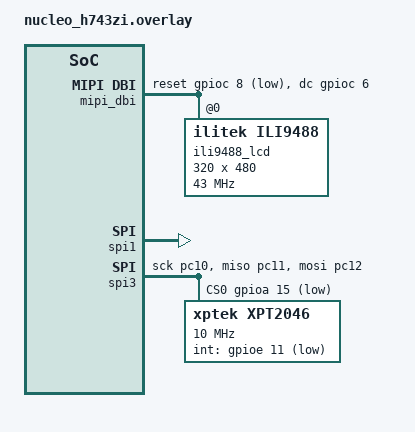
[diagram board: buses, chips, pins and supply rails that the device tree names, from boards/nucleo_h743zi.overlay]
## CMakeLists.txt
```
cmake_minimum_required(VERSION 3.20.0)

# Point the build at the HMI module (this sample lives inside it).
set(ZEPHYR_EXTRA_MODULES ${CMAKE_CURRENT_SOURCE_DIR}/../..)

find_package(Zephyr REQUIRED HINTS $ENV{ZEPHYR_BASE})
project(motor_hmi LANGUAGES C)

target_sources(app PRIVATE src/main.c)
```

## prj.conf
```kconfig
# App-side settings the HMI library needs
CONFIG_MAIN_STACK_SIZE=8192

CONFIG_GPIO=y
CONFIG_SPI=y

# SPI1 LCD bus moves ~14 KB per flush; DMA frees the flush thread from
# byte-pumping so main can render while the transfer runs. DMA_STM32_V2
# and DMAMUX_STM32 enable themselves from the DT nodes in the overlay.
CONFIG_DMA=y
CONFIG_SPI_STM32_DMA=y

CONFIG_LOG=y

# Resistive touch (XPT2046 on SPI3, 'zephyr,touch' chosen) -> LVGL pointer
# Upstream xptek,xpt2046 driver (CONFIG_INPUT_XPT2046).
CONFIG_INPUT=y
CONFIG_INPUT_XPT2046=y
# The input module logs a "Timeout discarded" DBG line on EVERY syswq report,
# and with CONFIG_INPUT_LOG_LEVEL_DBG the resulting flood overflows the
# deferred log queue at 115200 baud (seen as "--- N messages dropped ---").
# Keep WRN so the "Event dropped, queue full" canary stays visible.
CONFIG_INPUT_LOG_LEVEL_WRN=y
# Input pipeline must never be starved, or the 16-slot event msgq fills and
# every touch is dropped before reaching LVGL ("Event dropped, queue full,
# not blocking in syswq"). Run the input thread at cooperative top priority
# (preempts the flush thread) and give it headroom for bursts/drags.
CONFIG_INPUT_THREAD_PRIORITY_OVERRIDE=y
CONFIG_INPUT_THREAD_PRIORITY=-1
CONFIG_INPUT_THREAD_STACK_SIZE=2048
CONFIG_INPUT_QUEUE_MAX_MSGS=64
CONFIG_LV_Z_POINTER_INPUT=y
CONFIG_LV_Z_POINTER_FROM_CHOSEN_TOUCH=y

# Display driver stack (ILI9488 over 4-wire MIPI DBI/SPI)
CONFIG_DISPLAY=y
CONFIG_DISPLAY_LOG_LEVEL_ERR=y

# LVGL, rendering natively in the panel's 18-bit RGB666 mode.
# The HMI module (CONFIG_HMI) selects the widgets and fonts it needs;
# the display-specific settings stay here.
CONFIG_LVGL=y
CONFIG_LV_COLOR_DEPTH_24=y
# VDB size in % of the framebuffer. Landscape and portrait are the same
# 153600 px, so 3% = 4608 px = 13824 bytes @ RGB888 -- identical to the
# portrait display_demo and known to fit next to the widget set in the
# LVGL memory pool.
CONFIG_LV_Z_VDB_SIZE=3
# Double the draw buffer and flush in a dedicated thread so the next strip
# can be rendered while the previous one is still being pushed over SPI.
# Flush thread priority MUST stay below the input/sysworkq threads (-1), or
# a long synchronous flush starves XPT2046 sampling (the old touch freeze).
CONFIG_LV_Z_DOUBLE_VDB=y
CONFIG_LV_Z_FLUSH_THREAD=y
CONFIG_LV_Z_FLUSH_THREAD_PRIORITY=4
CONFIG_LV_Z_FLUSH_THREAD_STACK_SIZE=1024
# LVGL pool holds the object set + the rendering buffer for the app's
# lifetime (lv_malloc in lvgl.c).
CONFIG_LV_Z_MEM_POOL_SIZE=80000
CONFIG_LV_USE_LOG=y
CONFIG_LV_LOG_LEVEL_ERROR=y

# HMI library
CONFIG_HMI=y

# Flash is at 100%: trim LVGL down to just the widgets the HMI demo uses
# (ARC/ARCLABEL/BAR/BUTTON/BUTTONMATRIX/CHART/IMAGE/LABEL/LINE/SLIDER/
# TABVIEW + FLEX layout). LTO is unavailable here: GEN_ISR_TABLES forces
# CONFIG_LTO back to n on this board.
CONFIG_LV_USE_TABLE=n
CONFIG_LV_USE_TEXTAREA=n
CONFIG_LV_USE_ROLLER=n
CONFIG_LV_USE_SPINBOX=n
CONFIG_LV_USE_SPINNER=n
CONFIG_LV_USE_SWITCH=n
CONFIG_LV_USE_CHECKBOX=n
CONFIG_LV_USE_DROPDOWN=n
CONFIG_LV_USE_CALENDAR=n
CONFIG_LV_USE_KEYBOARD=n
CONFIG_LV_USE_MSGBOX=n
CONFIG_LV_USE_MENU=n
CONFIG_LV_USE_TILEVIEW=n
CONFIG_LV_USE_WIN=n
CONFIG_LV_USE_LIST=n
CONFIG_LV_USE_ANIMIMG=n
CONFIG_LV_USE_CANVAS=n
CONFIG_LV_USE_IMAGEBUTTON=n
CONFIG_LV_USE_SPAN=n
CONFIG_LV_USE_SCALE=n
CONFIG_LV_USE_LED=n
CONFIG_LV_USE_GIF=n

# add picolib float support
CONFIG_PICOLIBC_IO_FLOAT=y
```

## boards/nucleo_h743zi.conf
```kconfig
# The nucleo_h743zi's default zephyr,code-partition (MCUboot slot0) is only
# 256 KB. This app (~500 KB) links against the full 2 MB flash instead.
CONFIG_USE_DT_CODE_PARTITION=n
```

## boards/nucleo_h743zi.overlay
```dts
/*
 * Motor Control HMI for ST NUCLEO-H743ZI -- LANDSCAPE 480x320.
 *
 * Same wiring as samples/display_demo (see that file for the pin rationale):
 *  - Display SPI1: SCK=PA5(D13) MISO=PA6(D12) MOSI=PB5(D11) CS=PD14(D10)
 *    DC=PC6, RESET=PC8
 *  - Touch SPI3: SCK=PC10 MISO=PC11 MOSI=PC12, CS=PA15, IRQ=PE11(D5)
 *
 * The only delta from display_demo is `rotation = <180>` -> `<270>`:
 *
 *  1. The panel is native 320x480; 90/270 make ili9xxx_get_capabilities()
 *     report 480x320, which is what LVGL and the 4-tab layout size against
 *     (lvgl.c:389 creates the lv_display from cap.x/y_resolution).
 *     Measured on hardware: <90> put the corner labels in the wrong places
 *     and mirrored BOTH touch axes (x ran right-to-left, y bottom-to-top),
 *     which is precisely a 180 deg error -- so <270> is the correct one.
 *     `h-mirror` / `v-mirror` (ilitek,ili9xxx-common.yaml) remain the
 *     fallback if a single axis is still flipped.
 *
 *  2. The touch node is deliberately left IDENTICAL to display_demo's.
 *     lvgl_pointer_process_event() (zephyr/modules/lvgl/input/
 *     lvgl_pointer_input.c:88-110) already rotates the incoming point into
 *     the rotated frame using cap.current_orientation, e.g. for ROTATED_90:
 *
 *         point->x = tmp.y;  point->y = cap.y_resolution - tmp.x;
 *
 *     which only holds when tmp is in the panel's NATIVE 320x480 frame.
 *     Swapping axes or scaling to 480x320 here would rotate twice and
 *     leave the cursor diagonal/mirrored. There is no lvgl,pointer-input
 *     node in this DT, so cfg->swap_xy / invert_x / invert_y are all false
 *     and orientation rotation is LVGL's only transform -- which also means
 *     touch follows whatever rotation the display reports, automatically.
 *
 *     inverted-x / inverted-y (native frame, raw digitizer axes) stay as
 *     display_demo has them; the crosshair test in src/main.c decides
 *     whether either needs flipping. min-x/max-x/min-y/max-y calibrate the
 *     panel in its own physical frame and do not depend on rotation.
 */

#include <zephyr/dt-bindings/display/panel.h>
#include <freq.h>

/ {
    chosen {
        zephyr,display = &ili9488_lcd;
        zephyr,touch = &xpt2046;
    };

    mipi_dbi: mipi_dbi {
        compatible = "zephyr,mipi-dbi-spi";
        spi-dev = <&spi1>;
        dc-gpios = <&gpioc 6 GPIO_ACTIVE_HIGH>;
        reset-gpios = <&gpioc 8 GPIO_ACTIVE_LOW>;
        #address-cells = <1>;
        #size-cells = <0>;
        status = "okay";

        ili9488_lcd: ili9488@0 {
            compatible = "ilitek,ili9488";
            reg = <0>;
            mipi-mode = "MIPI_DBI_MODE_SPI_4WIRE";
            /* Panel register table matches the G4 build (same LCD module).
             * H7 SPI1 kernel clock is PLL1_Q = 480 MHz; the reached wire
             * rate may differ from the G4's ~43 MHz -> retune if needed. */
            mipi-max-frequency = <DT_FREQ_M(43)>;
            width = <320>;
            height = <480>;
            pixel-format = <PANEL_PIXEL_FORMAT_RGB_888>;
            /* Landscape, verified: <90> renders 180 deg off on this panel
             * and mirrors both touch axes; <270> is the correct sense. */
            rotation = <270>;
            frmctr1 = [b0 11];
            /* 0x22 sets the SS bit. ilitek,ili9488.yaml warns a non-default
             * SS value may interfere with rotation -- if the landscape
             * image comes out mirrored or shifted, revert this to the
             * binding default [02 02 3b] first. */
            disctrl = [02 22 3b];
            pwctrl1 = [11 09];
            pwctrl2 = [41];
            vmctrl = [00 0a 80 40];
            pgamctrl = [00 07 10 09 17 0b 41 89 4b 0a 0c 0e 18 1b 0f];
            ngamctrl = [00 17 1a 04 0e 06 2f 45 43 02 0a 09 32 36 0f];
            status = "okay";
        };
    };
};

&spi1 {
    /* pinctrl + cs-gpios are the board defaults (PA5/PA6/PB5, PD14). */
    status = "okay";
};

&spi3 {
    pinctrl-0 = <&spi3_sck_pc10 &spi3_miso_pc11 &spi3_mosi_pc12>;
    pinctrl-names = "default";
    cs-gpios = <&gpioa 15 GPIO_ACTIVE_LOW>;
    status = "okay";

    xpt2046: xpt2046@0 {
        compatible = "xptek,xpt2046";
        reg = <0>;
        spi-max-frequency = <DT_FREQ_M(10)>;
        /* PE11 = Arduino D5; PB7 (G4 wiring) stays lpuart1 RX here. */
        int-gpios = <&gpioe 11 GPIO_ACTIVE_LOW>;

        /* Raw XPT2046 cal is panel- and driver-raw, independent of the
         * host MCU, so the values from the G4 stays valid on this panel. */
        min-x = <1300>;
        max-x = <4095>;
        min-y = <683>;
        max-y = <3800>;
        touchscreen-size-x = <4096>;
        touchscreen-size-y = <4096>;
        z-threshold = <100>;
        reads = <10>;

        inverted-y;

        /* NOTE: the `display` phandle must stay. INPUT_TOUCH_OUTPUT_DIM
         * then picks up the panel's native 320x480, which is the frame
         * lvgl_pointer_process_event() expects to receive before it
         * applies the display orientation. Do not add swapped-x-y or
         * override output-width/output-height here -- see the header. */
        screen-width = <4096>;
        screen-height = <4096>;
        display = <&ili9488_lcd>;
    };
};
```

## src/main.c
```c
/*
 * SPDX-License-Identifier: Apache-2.0
 *
 * Motor Control HMI -- the professor's four screens, composed from the
 * HMI widget set on the 480x320 landscape panel (rotation 270, Phase B).
 *
 *   MAIN      read  Speed / Torque / Id / Iq / Vdc / status
 *             edit  RUN-STOP, speed command
 *   CONTROL   read  speed, Id, Iq setpoints + mode
 *             edit  speed ref, torque ref, Id ref, mode
 *   TUNING    read  current Kp/Ki per loop
 *             edit  the six gains
 *   MONITOR   read  Vdc / Ia / Ib / Ic / Id / Iq / speed / fault
 *             edit  fault reset
 *
 * The tab bar is 40 px, so every page is a fixed 480 x 280 canvas. Each
 * page is a plain absolute layout: widgets are placed by top-left corner,
 * and the widths were chosen so hmi_readout/hmi_slider derive the same
 * font (and therefore the same height) for every cell in a row. The
 * numbers below are the contract -- moving one means re-deriving the rest:
 *
 *   readout height  = 23 + value line height
 *                     (w>=200 -> 32/35 -> 58, >=150 -> 28/30 -> 53,
 *                      >=110 -> 22/24 -> 47, >=80 -> 18/21 -> 44,
 *                      else   16/18 -> 41)
 *   slider height   = value line height + 16 + 24
 *                     (w>=240 -> 70, >=180 -> 64, >=120 -> 61, else 58)
 *
 * There is no comm link on this pass (Phase 4): a 100 ms timer stands in
 * for the drive, so the readouts move, the gains visibly change the
 * response, and pushing the load into the overcurrent region trips and
 * latches protection exactly as the real firmware would.
 */

#include <math.h>
#include <stdbool.h>
#include <stdint.h>

#include <lvgl.h>
#include <zephyr/logging/log.h>
#include <zephyr/sys/util.h>
#include <zephyr/sys/printk.h>
#include <hmi/hmi.h>

LOG_MODULE_REGISTER(motor_hmi, LOG_LEVEL_INF);

#define SCR_W 480
#define SCR_H 320
#define TABS_H 40
#define PAGE_H (SCR_H - TABS_H)

#define TWO_PI_F 6.2831853f
#define DQ_2PI_3 2.0943951f

/* Torque constant of the simulated machine, Nm per ampere of Iq. */
#define KT 1.5f

/* Mean |phase current| above which protection trips. With Id <= 5 A and
 * Torque Ref <= 25 Nm (Iq <= 16.7 A) the balanced-set mean reaches about
 * 11 A, so this sits high enough to need a deliberate over-range command
 * and still trips before the slider hits its end.
 */
#define LOAD_TRIP_A 9.0f

enum {
    MODE_SPEED = 0,
    MODE_TORQUE,
    MODE_ID,
};

enum {
    RUN_IDX_RUN = 0,
    RUN_IDX_STOP,
};

static const char *const g_tab_name[] = { "MAIN", "CONTROL", "TUNING",
                      "MONITOR" };
static const char *const g_mode_name[] = { "Speed", "Torque", "Id" };

/* ---- setpoints (driven by the UI) ---------------------------------- */
static float ref_speed = 1200.0f;   /* rpm */
static float ref_torque = 5.0f;     /* Nm  */
static float ref_id = 0.0f;         /* A   */
static float ref_iq = 0.0f;         /* A, derived from ref_torque */

/* ---- machine state (driven by the simulator) ----------------------- */
static float m_speed;               /* rpm */
static float m_torque;              /* Nm  */
static float m_id;                  /* A   */
static float m_iq;                  /* A   */
static float m_vdc = 48.0f;         /* V   */
static float m_ia;
static float m_ib;
static float m_ic;
static float m_phase;               /* rad */

/* ---- gains (driven by the TUNING screen) --------------------------- */
static float kp_speed = 120.0f;
static float ki_speed = 40.0f;
static float kp_id = 4.0f;
static float ki_id = 80.0f;
static float kp_iq = 4.0f;
static float ki_iq = 80.0f;

/* ---- run state ----------------------------------------------------- */
static bool running;
static bool fault_latched;
static const char *fault_str = "None";
static int mode = MODE_SPEED;
static int last_announced = -1;     /* -1 unknown, 0 stop, 1 run, 2 trip */

/* ---- widget handles shared between screens and callbacks ------------ */
static lv_obj_t *ch_run;
static lv_obj_t *ch_mode;
static lv_obj_t *sl_speed_main;
static lv_obj_t *sl_speed_ctrl;
static lv_obj_t *ro_status;
static lv_obj_t *ro_mode;
static lv_obj_t *ro_fault;
static lv_obj_t *ro_trip;

/* ==================================================================== */
/* Layout helpers                                                        */
/* ==================================================================== */

static lv_obj_t *caption(lv_obj_t *parent, int x, int y, const char *text)
{
    lv_obj_t *l = lv_label_create(parent);

    lv_obj_set_pos(l, x, y);
    lv_label_set_text(l, text);
    lv_obj_set_style_text_font(l, &lv_font_montserrat_12, 0);
    lv_obj_set_style_text_color(l, lv_color_hex(colorscheme[23]), 0);
    return l;
}

static lv_obj_t *readout(lv_obj_t *parent, int x, int y, int width,
             const char *title, const char *unit, float *bind,
             int precision)
{
    lv_obj_t *ro = hmi_readout_create(parent, x, y, width, title, unit);

    if (ro != NULL && bind != NULL) {
        hmi_readout_bind_value(ro, bind);
        hmi_readout_set_precision(ro, precision);
    }
    return ro;
}

static lv_obj_t *slider(lv_obj_t *parent, int x, int y, int width, double lo,
            double hi, double step, const char *unit, int precision,
            double initial)
{
    lv_obj_t *s = hmi_slider_create(parent, x, y, width);

    if (s == NULL) {
        return NULL;
    }
    /* set_range first: it recomputes the step and re-clamps the LVGL
     * position, which would otherwise discard a value set before it.
     */
    hmi_slider_set_range(s, lo, hi, step);
    hmi_slider_set_unit(s, unit);
    hmi_slider_set_precision(s, precision);
    hmi_slider_set_value(s, initial);
    return s;
}

/* A tabview page wants a fixed canvas: a stray drag must not pan the
 * layout away from where it was laid out.
 */
static lv_obj_t *tab_page(lv_obj_t *tv, const char *name)
{
    lv_obj_t *page = hmi_tabs_add_tab(tv, name);

    if (page != NULL) {
        lv_obj_remove_flag(page, LV_OBJ_FLAG_SCROLLABLE);
    }
    return page;
}

/* ==================================================================== */
/* Callbacks                                                             */
/* ==================================================================== */

/* The speed command on MAIN and the speed ref on CONTROL are the same
 * setpoint shown on two screens, so moving either moves the other.
 * hmi_slider_set_value() goes through lv_bar_set_value(), which does not
 * emit VALUE_CHANGED, so this cannot recurse -- the flag is belt and
 * braces in case that ever changes.
 */
static bool g_syncing;

static void speed_ref_cb(lv_obj_t *sl, double value, void *user_data)
{
    LV_UNUSED(user_data);

    if (g_syncing) {
        return;
    }
    g_syncing = true;
    ref_speed = (float)value;

    lv_obj_t *peer = (sl == sl_speed_main) ? sl_speed_ctrl : sl_speed_main;
    if (peer != NULL) {
        hmi_slider_set_value(peer, value);
    }
    g_syncing = false;
}

static void scalar_ref_cb(lv_obj_t *sl, double value, void *user_data)
{
    LV_UNUSED(sl);
    *(float *)user_data = (float)value;
}

static void run_cb(lv_obj_t *ch, uint32_t active, void *user_data)
{
    LV_UNUSED(user_data);

    if (fault_latched) {
        /* Protection owns the drive until it is reset. */
        hmi_choice_set_active(ch, RUN_IDX_STOP, false);
        return;
    }
    running = (active == RUN_IDX_RUN);
    LOG_INF("run state -> %s", running ? "RUN" : "STOP");
}

static void mode_cb(lv_obj_t *ch, uint32_t active, void *user_data)
{
    LV_UNUSED(ch);
    LV_UNUSED(user_data);

    if (active > MODE_ID) {
        return;
    }
    mode = (int)active;
    if (ro_mode != NULL) {
        hmi_readout_set_text(ro_mode, g_mode_name[active]);
    }
    LOG_INF("control mode -> %s", g_mode_name[active]);
}

static void fault_reset_cb(lv_obj_t *btn, bool checked, void *user_data)
{
    LV_UNUSED(btn);
    LV_UNUSED(checked);
    LV_UNUSED(user_data);

    if (!fault_latched) {
        LOG_INF("fault reset with no active trip");
        return;
    }
    fault_latched = false;
    fault_str = "None";
    last_announced = -1;   /* force the status row to repaint */
    LOG_INF("trip cleared");
}

static void tab_cb(lv_obj_t *tv, uint32_t active, void *user_data)
{
    LV_UNUSED(tv);
    LV_UNUSED(user_data);

    if (active < ARRAY_SIZE(g_tab_name)) {
        LOG_INF("tab %s", g_tab_name[active]);
    }
}

/* ==================================================================== */
/* Status row                                                            */
/* ==================================================================== */

static void update_status(void)
{
    int now = fault_latched ? 2 : (running ? 1 : 0);

    if (now == last_announced) {
        return;
    }
    last_announced = now;

    if (ro_status != NULL) {
        hmi_readout_set_text(ro_status,
                     now == 2 ? "FAULT" :
                     now == 1 ? "RUNNING" : "STOPPED");
        hmi_readout_set_state(ro_status,
                      now == 2 ? HMI_READOUT_FAULT :
                      now == 1 ? HMI_READOUT_OK :
                      HMI_READOUT_NEUTRAL);
    }
    if (ro_fault != NULL) {
        hmi_readout_set_text(ro_fault, now == 2 ? "TRIP" : "None");
        hmi_readout_set_state(ro_fault,
                      now == 2 ? HMI_READOUT_FAULT :
                      now == 1 ? HMI_READOUT_OK :
                      HMI_READOUT_NEUTRAL);
    }
    if (ro_trip != NULL) {
        hmi_readout_set_text(ro_trip,
                     now == 2 ? fault_str : "No active trip");
        hmi_readout_set_state(ro_trip,
                      now == 2 ? HMI_READOUT_FAULT :
                      now == 1 ? HMI_READOUT_OK :
                      HMI_READOUT_NEUTRAL);
    }
    if (now == 2 && ch_run != NULL) {
        hmi_choice_set_active(ch_run, RUN_IDX_STOP, false);
    }
}

/* ==================================================================== */
/* Simulator                                                             */
/* ==================================================================== */

static void sim_cb(lv_timer_t *timer)
{
    LV_UNUSED(timer);

    float tgt_speed = 0.0f;
    float tgt_torque = 0.0f;
    float tgt_id = 0.0f;

    if (running && !fault_latched) {
        tgt_id = ref_id;
        switch (mode) {
        case MODE_TORQUE:
            tgt_torque = ref_torque;
            tgt_speed = ref_torque * 120.0f;
            break;
        case MODE_ID:
            break;
        case MODE_SPEED:
        default:
            tgt_speed = ref_speed;
            tgt_torque = ref_torque;
            break;
        }
    }

    /* The TUNING gains are not decorative: Kp/Ki of the speed loop set
     * the lag applied here, so raising them is visible on MAIN within
     * a couple of ticks.
     */
    float k = 0.02f + kp_speed / 500.0f * 0.10f +
          ki_speed / 100.0f * 0.01f;

    if (k > 0.30f) {
        k = 0.30f;
    }

    m_speed += (tgt_speed - m_speed) * k;
    m_torque += (tgt_torque - m_torque) * 0.15f;
    m_id += (tgt_id - m_id) * 0.25f;
    m_iq = m_torque / KT;
    ref_iq = ref_torque / KT;

    m_phase += m_speed * 0.0006f;
    while (m_phase >= TWO_PI_F) {
        m_phase -= TWO_PI_F;
    }

    float c0 = cosf(m_phase);
    float s0 = sinf(m_phase);
    float c1 = cosf(m_phase - DQ_2PI_3);
    float s1 = sinf(m_phase - DQ_2PI_3);
    float c2 = cosf(m_phase + DQ_2PI_3);
    float s2 = sinf(m_phase + DQ_2PI_3);

    m_ia = m_id * c0 - m_iq * s0;
    m_ib = m_id * c1 - m_iq * s1;
    m_ic = m_id * c2 - m_iq * s2;

    float load = (fabsf(m_ia) + fabsf(m_ib) + fabsf(m_ic)) / 3.0f;

    m_vdc = 48.0f - 0.4f * load + 0.10f * sinf(m_phase * 3.0f);

    if (!fault_latched && load > LOAD_TRIP_A) {
        fault_latched = true;
        fault_str = "Phase overcurrent";
        running = false;
        last_announced = -1;
        /* No %f here: CONFIG_CBPRINTF_FP_SUPPORT is off. */
        LOG_WRN("trip: %s (load %d.%d A)", fault_str, (int)load,
            (int)(load * 10.0f) % 10);
    }

    update_status();
}

/* ==================================================================== */
/* Screens                                                               */
/* ==================================================================== */

/* 3 x 2 grid of 149 px cells (font22 -> h47), then RUN-STOP and the
 * speed command. Ends at y=256 of 280.
 */
static void build_main(lv_obj_t *page)
{
    readout(page, 8, 8, 149, "Speed", "rpm", &m_speed, 0);
    readout(page, 165, 8, 149, "Torque", "Nm", &m_torque, 1);
    readout(page, 322, 8, 149, "Id", "A", &m_id, 1);
    readout(page, 8, 63, 149, "Iq", "A", &m_iq, 1);
    readout(page, 165, 63, 149, "Vdc", "V", &m_vdc, 1);
    ro_status = readout(page, 322, 63, 149, "Status", NULL, NULL, 0);

    caption(page, 8, 118, "COMMAND");

    ch_run = hmi_choice_create(page, 8, 136, 464, 40);
    hmi_choice_add_option(ch_run, "RUN");
    hmi_choice_add_option(ch_run, "STOP");
    hmi_choice_set_active(ch_run, RUN_IDX_STOP, false);
    hmi_choice_set_callback(ch_run, run_cb, NULL);

    sl_speed_main = slider(page, 8, 186, 464, 0.0, 3000.0, 10.0, "rpm", 0,
                   ref_speed);
    hmi_slider_set_callback(sl_speed_main, speed_ref_cb, NULL);
}

/* 4 x 1 read row (font22 -> h47), three setpoint sliders (font18 -> h61)
 * and the mode selector. Ends at y=230 of 280.
 */
static void build_control(lv_obj_t *page)
{
    readout(page, 8, 8, 110, "Speed ref", "rpm", &ref_speed, 0);
    readout(page, 126, 8, 110, "Id ref", "A", &ref_id, 1);
    readout(page, 244, 8, 110, "Iq ref", "A", &ref_iq, 1);
    ro_mode = readout(page, 362, 8, 110, "Mode", NULL, NULL, 0);
    if (ro_mode != NULL) {
        hmi_readout_set_text(ro_mode, g_mode_name[mode]);
    }

    caption(page, 8, 66, "SETPOINTS");

    sl_speed_ctrl = slider(page, 8, 88, 150, 0.0, 3000.0, 10.0, "rpm", 0,
                   ref_speed);
    hmi_slider_set_callback(sl_speed_ctrl, speed_ref_cb, NULL);

    lv_obj_t *s = slider(page, 166, 88, 150, 0.0, 25.0, 0.5, "Nm", 1,
                 ref_torque);

    hmi_slider_set_callback(s, scalar_ref_cb, &ref_torque);

    s = slider(page, 324, 88, 150, -5.0, 5.0, 0.1, "A", 1, ref_id);
    hmi_slider_set_callback(s, scalar_ref_cb, &ref_id);

    caption(page, 8, 161, "CONTROL MODE");

    ch_mode = hmi_choice_create(page, 8, 178, 464, 52);
    hmi_choice_add_option(ch_mode, g_mode_name[MODE_SPEED]);
    hmi_choice_add_option(ch_mode, g_mode_name[MODE_TORQUE]);
    hmi_choice_add_option(ch_mode, g_mode_name[MODE_ID]);
    hmi_choice_set_active(ch_mode, MODE_SPEED, false);
    hmi_choice_set_callback(ch_mode, mode_cb, NULL);
}

/* 3 x 2 gain matrix: row label, then Kp and Ki columns (font22 -> h64).
 * Ends at y=240 of 280.
 */
static void build_tuning(lv_obj_t *page)
{
    static const struct {
        int x;
        const char *name;
    } col[] = { { 58, "Kp" }, { 270, "Ki" } };
    static const struct {
        int y;
        const char *name;
        float *kp;
        float *ki;
        double kp_lo, kp_hi, kp_step, kp_init;
        double ki_lo, ki_hi, ki_step, ki_init;
    } row[] = {
        { 32, "Speed", &kp_speed, &ki_speed,
          0.0, 500.0, 1.0, 120.0, 0.0, 100.0, 1.0, 40.0 },
        { 104, "Id", &kp_id, &ki_id,
          0.0, 20.0, 0.1, 4.0, 0.0, 200.0, 1.0, 80.0 },
        { 176, "Iq", &kp_iq, &ki_iq,
          0.0, 20.0, 0.1, 4.0, 0.0, 200.0, 1.0, 80.0 },
    };

    for (size_t i = 0; i < ARRAY_SIZE(col); i++) {
        lv_obj_t *l = lv_label_create(page);

        lv_obj_set_pos(l, col[i].x, 8);
        lv_label_set_text(l, col[i].name);
        lv_obj_set_style_text_font(l, &lv_font_montserrat_14, 0);
        lv_obj_set_style_text_color(l, lv_color_hex(colorscheme[23]), 0);
    }

    for (size_t i = 0; i < ARRAY_SIZE(row); i++) {
        lv_obj_t *l = lv_label_create(page);

        lv_obj_set_pos(l, 8, row[i].y + 14);
        lv_label_set_text(l, row[i].name);
        lv_obj_set_style_text_font(l, &lv_font_montserrat_14, 0);
        lv_obj_set_style_text_color(l, lv_color_hex(colorscheme[22]), 0);

        lv_obj_t *s = slider(page, col[0].x, row[i].y, 204,
                     row[i].kp_lo, row[i].kp_hi,
                     row[i].kp_step, NULL, 1, row[i].kp_init);

        hmi_slider_set_callback(s, scalar_ref_cb, row[i].kp);

        s = slider(page, col[1].x, row[i].y, 204, row[i].ki_lo,
               row[i].ki_hi, row[i].ki_step, NULL, 0,
               row[i].ki_init);
        hmi_slider_set_callback(s, scalar_ref_cb, row[i].ki);
    }
}

/* 4 x 2 grid of 110 px cells (font22 -> h47), then the trip banner
 * (font32 -> h58) and the reset button. Ends at y=270 of 280.
 */
static void build_monitor(lv_obj_t *page)
{
    readout(page, 8, 8, 110, "Vdc", "V", &m_vdc, 1);
    readout(page, 126, 8, 110, "Ia", "A", &m_ia, 1);
    readout(page, 244, 8, 110, "Ib", "A", &m_ib, 1);
    readout(page, 362, 8, 110, "Ic", "A", &m_ic, 1);
    readout(page, 8, 63, 110, "Id", "A", &m_id, 1);
    readout(page, 126, 63, 110, "Iq", "A", &m_iq, 1);
    readout(page, 244, 63, 110, "Speed", "rpm", &m_speed, 0);
    ro_fault = readout(page, 362, 63, 110, "Fault", NULL, NULL, 0);

    caption(page, 8, 124, "PROTECTION");

    ro_trip = readout(page, 8, 146, 464, "Trip detail", NULL, NULL, 0);
    if (ro_trip != NULL) {
        hmi_readout_set_text(ro_trip, "No active trip");
    }

    lv_obj_t *btn = hmi_button_create(page, 8, 214, 464, 56);

    hmi_button_set_label(btn, "Fault Reset");
    hmi_button_set_icon(btn, LV_SYMBOL_REFRESH);
    hmi_button_set_layout(btn, HMI_BUTTON_ICON_LEFT);
    hmi_button_set_type(btn, HMI_BUTTON_NORMAL);
    hmi_button_set_callback(btn, fault_reset_cb, NULL);
}

static void build_hmi(lv_obj_t *parent)
{
    lv_obj_t *tv = hmi_tabs_create(parent, 0, 0, SCR_W, SCR_H);

    hmi_tabs_set_callback(tv, tab_cb, NULL);

    printk("HMI: tabs\n");
    build_main(tab_page(tv, g_tab_name[0]));
    printk("HMI: MAIN ok\n");
    build_control(tab_page(tv, g_tab_name[1]));
    printk("HMI: CONTROL ok\n");
    build_tuning(tab_page(tv, g_tab_name[2]));
    printk("HMI: TUNING ok\n");
    build_monitor(tab_page(tv, g_tab_name[3]));
    printk("HMI: MONITOR ok\n");

    update_status();
    printk("HMI: build done\n");
}

int main(void)
{
    printk("HMI: main enter\n");
    if (hmi_init() < 0) {
        printk("HMI: hmi_init FAILED\n");
        return 0;
    }
    printk("HMI: hmi_init ok\n");

    build_hmi(lv_screen_active());
    printk("HMI: build_hmi returned\n");
    lv_timer_create(sim_cb, 100, NULL);
    printk("HMI: timer ok\n");

    hmi_show();
    printk("HMI: hmi_show returned\n");

    return 0;   /* unreachable: hmi_show() loops forever */
}
```
